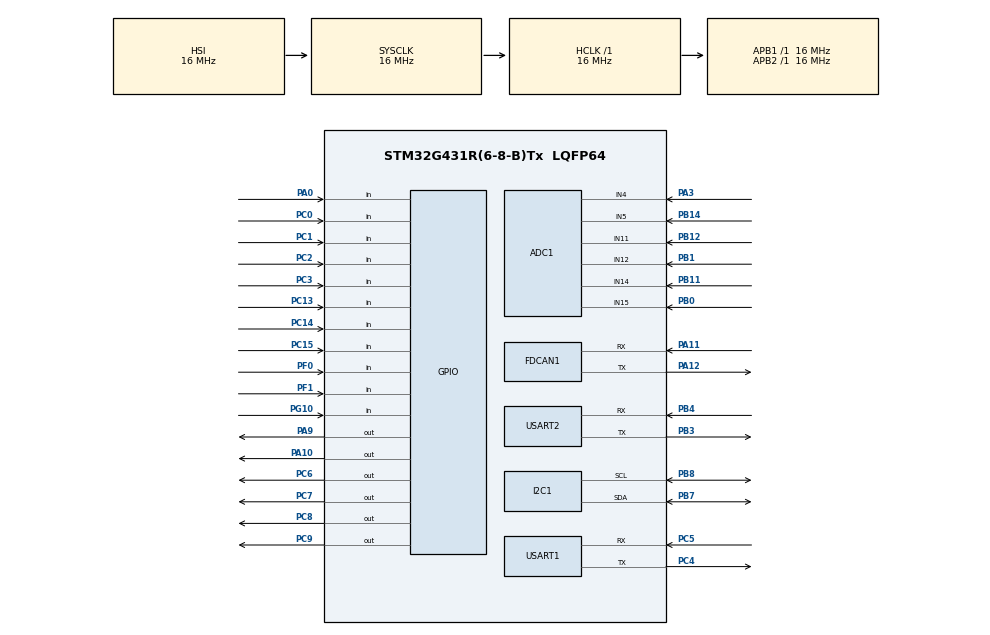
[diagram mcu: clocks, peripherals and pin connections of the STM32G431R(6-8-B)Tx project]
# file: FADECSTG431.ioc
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ADC1.Channel-0\#ChannelRegularConversion=ADC_CHANNEL_15
ADC1.NbrOfConversionFlag=1
ADC1.OffsetNumber-0\#ChannelRegularConversion=ADC_OFFSET_NONE
ADC1.Rank-0\#ChannelRegularConversion=1
ADC1.SamplingTime-0\#ChannelRegularConversion=ADC_SAMPLETIME_2CYCLES_5
ADC1.master=1
FDCAN1.CalculateBaudRateNominal=333333
FDCAN1.CalculateTimeBitNominal=3000
FDCAN1.CalculateTimeQuantumNominal=1000.0
I2C1.Timing=0x00503D58
Mcu.Family=STM32G4
Mcu.Name=STM32G431R(6-8-B)Tx
Mcu.Package=LQFP64
NVIC.PriorityGroup=NVIC_PRIORITYGROUP_4
PA0.Signal=GPIO_Input
PA10.Signal=GPIO_Output
PA11.Mode=FDCAN_Activate
PA11.Signal=FDCAN1_RX
PA12.Mode=FDCAN_Activate
PA12.Signal=FDCAN1_TX
PA13.Mode=Serial_Wire
PA13.Signal=SYS_JTMS-SWDIO
PA14.Mode=Serial_Wire
PA14.Signal=SYS_JTCK-SWCLK
PA3.Mode=IN4-Single-Ended
PA3.Signal=ADC1_IN4
PA9.Signal=GPIO_Output
PB0.Mode=IN15-Single-Ended
PB0.Signal=ADC1_IN15
PB1.Mode=IN12-Single-Ended
PB1.Signal=ADC1_IN12
PB11.Mode=IN14-Single-Ended
PB11.Signal=ADC1_IN14
PB12.Mode=IN11-Single-Ended
PB12.Signal=ADC1_IN11
PB14.Mode=IN5-Single-Ended
PB14.Signal=ADC1_IN5
PB3.Mode=Asynchronous
PB3.Signal=USART2_TX
PB4.Mode=Asynchronous
PB4.Signal=USART2_RX
PB7.Mode=I2C
PB7.Signal=I2C1_SDA
PB8-BOOT0.Mode=I2C
PB8-BOOT0.Signal=I2C1_SCL
PC0.Signal=GPIO_Input
PC1.Signal=GPIO_Input
PC13.Signal=GPIO_Input
PC14-OSC32_IN.Signal=GPIO_Input
PC15-OSC32_OUT.Signal=GPIO_Input
PC2.Signal=GPIO_Input
PC3.Signal=GPIO_Input
PC4.Mode=Asynchronous
PC4.Signal=USART1_TX
PC5.Mode=Asynchronous
PC5.Signal=USART1_RX
PC6.Signal=GPIO_Output
PC7.Signal=GPIO_Output
PC8.Signal=GPIO_Output
PC9.Signal=GPIO_Output
PF0-OSC_IN.Signal=GPIO_Input
PF1-OSC_OUT.Signal=GPIO_Input
PG10-NRST.Signal=GPIO_Input
ProjectManager.HeapSize=0x200
ProjectManager.StackSize=0x400
ProjectManager.TargetToolchain=STM32CubeIDE
RCC.AHBFreq_Value=16000000
RCC.APB1Freq_Value=16000000
RCC.APB1TimFreq_Value=16000000
RCC.APB2Freq_Value=16000000
RCC.APB2TimFreq_Value=16000000
RCC.CortexFreq_Value=16000000
RCC.EXTERNAL_CLOCK_VALUE=12288000
RCC.HCLKFreq_Value=16000000
RCC.HSE_VALUE=8000000
RCC.HSI48_VALUE=48000000
RCC.HSI_VALUE=16000000
RCC.LSE_VALUE=32768
RCC.SYSCLKFreq_VALUE=16000000
RCC.USBFreq_Value=64000000
RCC.VCOOutputFreq_Value=128000000
USART1.VirtualMode-Asynchronous=VM_ASYNC
USART2.VirtualMode-Asynchronous=VM_ASYNC
VP_CRC_VS_CRC.Mode=CRC_Activate
VP_RTC_VS_RTC_Activate.Mode=RTC_Enabled
VP_SYS_VS_DBSignals.Mode=DisableDeadBatterySignals
board=custom

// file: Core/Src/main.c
/* USER CODE BEGIN Header */
/**
  ******************************************************************************
  * @file           : main.c
  * @brief          : Main program body
  ******************************************************************************
  * @attention
  *
  * Copyright (c) 2025 STMicroelectronics.
  * All rights reserved.
  *
  * This software is licensed under terms that can be found in the LICENSE file
  * in the root directory of this software component.
  * If no LICENSE file comes with this software, it is provided AS-IS.
  *
  ******************************************************************************
  */
/* USER CODE END Header */
#include "main.h"

/* USER CODE BEGIN Includes */
#include "nslp.h"
#include "payloads.h"
/* USER CODE END Includes */

/* USER CODE BEGIN PD */
#define SP		GPIO_PIN_9
#define MUXE	GPIO_PIN_10
#define MUXP1	GPIO_PIN_7
#define MUXP2	GPIO_PIN_8
#define MUXP3	GPIO_PIN_9
#define MGO		GPIOC

const uint8_t NUM_OF_SENSORS = 4;
const int selectPins[3] = { MUXP1, MUXP2, MUXP3 };
const uint8_t RUNAVGAM = 5;

struct Packet sendPacket;
struct Pressure pressure;
struct Temperature temperature;
/* USER CODE END PD */

ADC_HandleTypeDef hadc1;

CRC_HandleTypeDef hcrc;

FDCAN_HandleTypeDef hfdcan1;

I2C_HandleTypeDef hi2c1;

RTC_HandleTypeDef hrtc;

UART_HandleTypeDef huart1;
UART_HandleTypeDef huart2;

void SystemClock_Config(void);
static void MX_GPIO_Init(void);
static void MX_FDCAN1_Init(void);
static void MX_I2C1_Init(void);
static void MX_USART1_UART_Init(void);
static void MX_USART2_UART_Init(void);
static void MX_RTC_Init(void);
static void MX_CRC_Init(void);
static void MX_ADC1_Init(void);
/* USER CODE BEGIN PFP */
float pressureArray[4];
float temperatureArray[4];
/* USER CODE END PFP */

/* USER CODE BEGIN 0 */
void selectMuxPin(uint8_t pin) {
	for (uint8_t j = 0; j < 3; j++) {
		if (pin & (1 << j)) {
			if (j == 2) {
				HAL_GPIO_WritePin(MGO, selectPins[j], GPIO_PIN_SET);
			} else {
				HAL_GPIO_WritePin(MGO, selectPins[j], GPIO_PIN_SET);
			}
		} else {
			if (j == 2) {
				HAL_GPIO_WritePin(MGO, selectPins[j], GPIO_PIN_RESET);
			} else {
				HAL_GPIO_WritePin(MGO, selectPins[j], GPIO_PIN_RESET);
			}
		}
	}

}
/* USER CODE END 0 */

int main(void)
{

  /* USER CODE BEGIN 1 */
	//Needed variables
		uint8_t instructionArray[8];
		uint8_t addressArray[8];
		uint8_t receiveArray[5];
		uint32_t rawPressureData;
		int32_t rawTemperatureData;
		float fpressureData;
		float fpressureData2;
		float truePressureData;
		float runningAveragePressure[NUM_OF_SENSORS][5];
		float ftemperatureData;
		float runningAverageTemperature[NUM_OF_SENSORS][5];
		float temperatureSum = 0;
		float temperatureAverage = 0;
		float trueTemparature;
		float Fullscale_P = 40000;
		float pressureSum = 0;
		float pressureAverage = 0;

		//Sensor calibration values
		float calibration[10] = { 1000 / 6 / 1.5 / 1.10, 300 / 1.40, 100, 120.0, 1, 1, 1, 1, 1, 1 };
		float tempcal[10] = { 2.15, 2, 2.15, 2, 1, 1, 1, 1, 1, 1 };

  /* USER CODE END 1 */

  /* MCU Configuration--------------------------------------------------------*/

  /* Reset of all peripherals, Initializes the Flash interface and the Systick. */
  HAL_Init();

  /* Configure the system clock */
  SystemClock_Config();

  /* Initialize all configured peripherals */
  MX_GPIO_Init();
  MX_FDCAN1_Init();
  MX_I2C1_Init();
  MX_USART1_UART_Init();
  MX_USART2_UART_Init();
  MX_RTC_Init();
  MX_CRC_Init();
  MX_ADC1_Init();
  /* USER CODE BEGIN 2 */
  HAL_GPIO_WritePin(GPIOA, MUXE, GPIO_PIN_RESET);
	for (uint8_t i = 0; i < 3; i++) {
		if (i == 2) {
			HAL_GPIO_WritePin(MGO, selectPins[i], GPIO_PIN_SET);
		} else {
			HAL_GPIO_WritePin(MGO, selectPins[i], GPIO_PIN_SET);
		}
	}

	//status avr struct init
	struct Command nStat = {
		0x00,
		0x00
	};
  /* USER CODE END 2 */

  /* Infinite loop */
  /* USER CODE BEGIN WHILE */
  while (1)
  {
	  for (uint8_t i = 0; i < NUM_OF_SENSORS; i++) {

		//select mux pin in regards to number if I2C sensors
		selectMuxPin(i);

		//Packet receive and interpret
		struct Packet p = *receive_packet(&huart1, &hcrc);
		struct Command c = *(struct Command*) p.payload;

		//Transmit command to avr in format: {type, cmd};
		HAL_UART_Transmit(&huart2, &c, 2, 100);

		//Set main valve
		if (c.state & (1 << 0)) {
			 HAL_GPIO_WritePin(GPIOA, SP, 1);
		}
		else {
			 HAL_GPIO_WritePin(GPIOA, SP, 0);
		}

		//Receive from Avr in format: {type, cmd};
		HAL_UART_Receive(&huart2, (uint8_t *) &nStat, 2, 100);

		//Set instructions for temperature and pressure sensors
		instructionArray[0] = 0x30;
		instructionArray[1] = 0x0A;
		addressArray[0] = 0x06;
		HAL_I2C_Master_Transmit(&hi2c1, 0x7f << 1, instructionArray, 2, 25);
		HAL_I2C_Master_Receive(&hi2c1, 0x7f << 1, addressArray, 1, 25);
		HAL_I2C_Master_Receive(&hi2c1, 0x7f << 1, receiveArray, 5, 25);

		//Pressure data interpretation
		rawPressureData = (receiveArray[0] << 16) | (receiveArray[1] << 8) | (receiveArray[2]);
		fpressureData = rawPressureData;
		if (fpressureData >= 8388608) {
			fpressureData2 = (fpressureData - 16777216.0) * Fullscale_P * calibration[i] / 8388608.0;
		} else {
			fpressureData2 = fpressureData / 8388608.0 * Fullscale_P * calibration[i]; //delis zaradi max vrednosti
		}
		truePressureData = fpressureData2;

		//Running average  for stable data
		for (uint8_t j = 0; j < RUNAVGAM; j++) {
			if (j == 0) {
				pressureSum = 0;
			}
			if (j == RUNAVGAM - 1) {
				runningAveragePressure[i][j] = truePressureData;
				pressureSum += runningAveragePressure[i][j];
				break;
			}
			runningAveragePressure[i][j] = runningAveragePressure[i][j + 1];
			pressureSum += runningAveragePressure[i][j];
		}
		pressureAverage = pressureSum / RUNAVGAM;

		//Temperature data interpretation
		rawTemperatureData = (receiveArray[3] << 8) | receiveArray[4];
		ftemperatureData = rawTemperatureData;
		trueTemparature = ftemperatureData / 256.0 * tempcal[i];

		//Running average  for stable data
		for (uint8_t j = 0; j < RUNAVGAM; j++) {
			if (j == 0) {
				temperatureSum = 0;
			}
			if (j == RUNAVGAM - 1) {
				runningAverageTemperature[i][j] = trueTemparature;
				temperatureSum += runningAverageTemperature[i][j];
				break;
			}
			runningAverageTemperature[i][j] = runningAverageTemperature[i][j + 1];
			temperatureSum += runningAverageTemperature[i][j];
		}
		temperatureAverage = temperatureSum / RUNAVGAM;
		pressureArray[i] = pressureAverage;
		temperatureArray[i] = temperatureAverage;
	}

	//pressures packet organization
	pressure.tank1 = pressureArray[0];
	pressure.tank2 = pressureArray[1];
	pressure.injector1 = pressureArray[2];
	pressure.injector2 = pressureArray[3];

	sendPacket.type = 'p';
	sendPacket.size = 16;
	sendPacket.payload = (uint8_t*) &pressure;
	send_packet(&sendPacket, &huart1, &hcrc);

	//temperatures packet organization
	temperature.tank1 = temperatureArray[0];
	temperature.tank1 = temperatureArray[1];
	temperature.injector1 = temperatureArray[2];
	temperature.injector2 = temperatureArray[3];

	sendPacket.type = 't';
	sendPacket.size = 16;
	sendPacket.payload = (uint8_t*) &temperature;
	send_packet(&sendPacket, &huart1, &hcrc);

	//avr status data organization
	sendPacket.type = 'c';
	sendPacket.size = 2;
	sendPacket.payload = (uint8_t*) &nStat;
	send_packet(&sendPacket, &huart1, &hcrc);
    /* USER CODE END WHILE */

  }
}

void SystemClock_Config(void)
{
  RCC_OscInitTypeDef RCC_OscInitStruct = {0};
  RCC_ClkInitTypeDef RCC_ClkInitStruct = {0};

  /** Configure the main internal regulator output voltage
  */
  HAL_PWREx_ControlVoltageScaling(PWR_REGULATOR_VOLTAGE_SCALE1);

  /** Initializes the RCC Oscillators according to the specified parameters
  * in the RCC_OscInitTypeDef structure.
  */
  RCC_OscInitStruct.OscillatorType = RCC_OSCILLATORTYPE_HSI|RCC_OSCILLATORTYPE_LSI;
  RCC_OscInitStruct.HSIState = RCC_HSI_ON;
  RCC_OscInitStruct.HSICalibrationValue = RCC_HSICALIBRATION_DEFAULT;
  RCC_OscInitStruct.LSIState = RCC_LSI_ON;
  RCC_OscInitStruct.PLL.PLLState = RCC_PLL_NONE;
  if (HAL_RCC_OscConfig(&RCC_OscInitStruct) != HAL_OK)
  {
    Error_Handler();
  }

  /** Initializes the CPU, AHB and APB buses clocks
  */
  RCC_ClkInitStruct.ClockType = RCC_CLOCKTYPE_HCLK|RCC_CLOCKTYPE_SYSCLK
                              |RCC_CLOCKTYPE_PCLK1|RCC_CLOCKTYPE_PCLK2;
  RCC_ClkInitStruct.SYSCLKSource = RCC_SYSCLKSOURCE_HSI;
  RCC_ClkInitStruct.AHBCLKDivider = RCC_SYSCLK_DIV1;
  RCC_ClkInitStruct.APB1CLKDivider = RCC_HCLK_DIV1;
  RCC_ClkInitStruct.APB2CLKDivider = RCC_HCLK_DIV1;

  if (HAL_RCC_ClockConfig(&RCC_ClkInitStruct, FLASH_LATENCY_0) != HAL_OK)
  {
    Error_Handler();
  }
}

static void MX_ADC1_Init(void)
{

  ADC_MultiModeTypeDef multimode = {0};
  ADC_ChannelConfTypeDef sConfig = {0};

  /** Common config
  */
  hadc1.Instance = ADC1;
  hadc1.Init.ClockPrescaler = ADC_CLOCK_SYNC_PCLK_DIV2;
  hadc1.Init.Resolution = ADC_RESOLUTION_12B;
  hadc1.Init.DataAlign = ADC_DATAALIGN_RIGHT;
  hadc1.Init.GainCompensation = 0;
  hadc1.Init.ScanConvMode = ADC_SCAN_DISABLE;
  hadc1.Init.EOCSelection = ADC_EOC_SINGLE_CONV;
  hadc1.Init.LowPowerAutoWait = DISABLE;
  hadc1.Init.ContinuousConvMode = DISABLE;
  hadc1.Init.NbrOfConversion = 1;
  hadc1.Init.DiscontinuousConvMode = DISABLE;
  hadc1.Init.ExternalTrigConv = ADC_SOFTWARE_START;
  hadc1.Init.ExternalTrigConvEdge = ADC_EXTERNALTRIGCONVEDGE_NONE;
  hadc1.Init.DMAContinuousRequests = DISABLE;
  hadc1.Init.Overrun = ADC_OVR_DATA_PRESERVED;
  hadc1.Init.OversamplingMode = DISABLE;
  if (HAL_ADC_Init(&hadc1) != HAL_OK)
  {
    Error_Handler();
  }

  /** Configure the ADC multi-mode
  */
  multimode.Mode = ADC_MODE_INDEPENDENT;
  if (HAL_ADCEx_MultiModeConfigChannel(&hadc1, &multimode) != HAL_OK)
  {
    Error_Handler();
  }

  /** Configure Regular Channel
  */
  sConfig.Channel = ADC_CHANNEL_15;
  sConfig.Rank = ADC_REGULAR_RANK_1;
  sConfig.SamplingTime = ADC_SAMPLETIME_2CYCLES_5;
  sConfig.SingleDiff = ADC_SINGLE_ENDED;
  sConfig.OffsetNumber = ADC_OFFSET_NONE;
  sConfig.Offset = 0;
  if (HAL_ADC_ConfigChannel(&hadc1, &sConfig) != HAL_OK)
  {
    Error_Handler();
  }

}

static void MX_CRC_Init(void)
{

  hcrc.Instance = CRC;
  hcrc.Init.DefaultPolynomialUse = DEFAULT_POLYNOMIAL_ENABLE;
  hcrc.Init.DefaultInitValueUse = DEFAULT_INIT_VALUE_ENABLE;
  hcrc.Init.InputDataInversionMode = CRC_INPUTDATA_INVERSION_NONE;
  hcrc.Init.OutputDataInversionMode = CRC_OUTPUTDATA_INVERSION_DISABLE;
  hcrc.InputDataFormat = CRC_INPUTDATA_FORMAT_BYTES;
  if (HAL_CRC_Init(&hcrc) != HAL_OK)
  {
    Error_Handler();
  }

}

static void MX_FDCAN1_Init(void)
{

  hfdcan1.Instance = FDCAN1;
  hfdcan1.Init.ClockDivider = FDCAN_CLOCK_DIV1;
  hfdcan1.Init.FrameFormat = FDCAN_FRAME_CLASSIC;
  hfdcan1.Init.Mode = FDCAN_MODE_NORMAL;
  hfdcan1.Init.AutoRetransmission = DISABLE;
  hfdcan1.Init.TransmitPause = DISABLE;
  hfdcan1.Init.ProtocolException = DISABLE;
  hfdcan1.Init.NominalPrescaler = 16;
  hfdcan1.Init.NominalSyncJumpWidth = 1;
  hfdcan1.Init.NominalTimeSeg1 = 1;
  hfdcan1.Init.NominalTimeSeg2 = 1;
  hfdcan1.Init.DataPrescaler = 1;
  hfdcan1.Init.DataSyncJumpWidth = 1;
  hfdcan1.Init.DataTimeSeg1 = 1;
  hfdcan1.Init.DataTimeSeg2 = 1;
  hfdcan1.Init.StdFiltersNbr = 0;
  hfdcan1.Init.ExtFiltersNbr = 0;
  hfdcan1.Init.TxFifoQueueMode = FDCAN_TX_FIFO_OPERATION;
  if (HAL_FDCAN_Init(&hfdcan1) != HAL_OK)
  {
    Error_Handler();
  }

}

static void MX_I2C1_Init(void)
{

  hi2c1.Instance = I2C1;
  hi2c1.Init.Timing = 0x00503D58;
  hi2c1.Init.OwnAddress1 = 0;
  hi2c1.Init.AddressingMode = I2C_ADDRESSINGMODE_7BIT;
  hi2c1.Init.DualAddressMode = I2C_DUALADDRESS_DISABLE;
  hi2c1.Init.OwnAddress2 = 0;
  hi2c1.Init.OwnAddress2Masks = I2C_OA2_NOMASK;
  hi2c1.Init.GeneralCallMode = I2C_GENERALCALL_DISABLE;
  hi2c1.Init.NoStretchMode = I2C_NOSTRETCH_DISABLE;
  if (HAL_I2C_Init(&hi2c1) != HAL_OK)
  {
    Error_Handler();
  }

  /** Configure Analogue filter
  */
  if (HAL_I2CEx_ConfigAnalogFilter(&hi2c1, I2C_ANALOGFILTER_ENABLE) != HAL_OK)
  {
    Error_Handler();
  }

  /** Configure Digital filter
  */
  if (HAL_I2CEx_ConfigDigitalFilter(&hi2c1, 0) != HAL_OK)
  {
    Error_Handler();
  }

}

static void MX_RTC_Init(void)
{

  /** Initialize RTC Only
  */
  hrtc.Instance = RTC;
  hrtc.Init.HourFormat = RTC_HOURFORMAT_24;
  hrtc.Init.AsynchPrediv = 127;
  hrtc.Init.SynchPrediv = 255;
  hrtc.Init.OutPut = RTC_OUTPUT_DISABLE;
  hrtc.Init.OutPutRemap = RTC_OUTPUT_REMAP_NONE;
  hrtc.Init.OutPutPolarity = RTC_OUTPUT_POLARITY_HIGH;
  hrtc.Init.OutPutType = RTC_OUTPUT_TYPE_OPENDRAIN;
  hrtc.Init.OutPutPullUp = RTC_OUTPUT_PULLUP_NONE;
  if (HAL_RTC_Init(&hrtc) != HAL_OK)
  {
    Error_Handler();
  }

}

static void MX_USART1_UART_Init(void)
{

  huart1.Instance = USART1;
  huart1.Init.BaudRate = 115200;
  huart1.Init.WordLength = UART_WORDLENGTH_8B;
  huart1.Init.StopBits = UART_STOPBITS_1;
  huart1.Init.Parity = UART_PARITY_NONE;
  huart1.Init.Mode = UART_MODE_TX_RX;
  huart1.Init.HwFlowCtl = UART_HWCONTROL_NONE;
  huart1.Init.OverSampling = UART_OVERSAMPLING_16;
  huart1.Init.OneBitSampling = UART_ONE_BIT_SAMPLE_DISABLE;
  huart1.Init.ClockPrescaler = UART_PRESCALER_DIV1;
  huart1.AdvancedInit.AdvFeatureInit = UART_ADVFEATURE_NO_INIT;
  if (HAL_UART_Init(&huart1) != HAL_OK)
  {
    Error_Handler();
  }
  if (HAL_UARTEx_SetTxFifoThreshold(&huart1, UART_TXFIFO_THRESHOLD_1_8) != HAL_OK)
  {
    Error_Handler();
  }
  if (HAL_UARTEx_SetRxFifoThreshold(&huart1, UART_RXFIFO_THRESHOLD_1_8) != HAL_OK)
  {
    Error_Handler();
  }
  if (HAL_UARTEx_DisableFifoMode(&huart1) != HAL_OK)
  {
    Error_Handler();
  }

}

static void MX_USART2_UART_Init(void)
{

  huart2.Instance = USART2;
  huart2.Init.BaudRate = 115200;
  huart2.Init.WordLength = UART_WORDLENGTH_8B;
  huart2.Init.StopBits = UART_STOPBITS_1;
  huart2.Init.Parity = UART_PARITY_NONE;
  huart2.Init.Mode = UART_MODE_TX_RX;
  huart2.Init.HwFlowCtl = UART_HWCONTROL_NONE;
  huart2.Init.OverSampling = UART_OVERSAMPLING_16;
  huart2.Init.OneBitSampling = UART_ONE_BIT_SAMPLE_DISABLE;
  huart2.Init.ClockPrescaler = UART_PRESCALER_DIV1;
  huart2.AdvancedInit.AdvFeatureInit = UART_ADVFEATURE_NO_INIT;
  if (HAL_UART_Init(&huart2) != HAL_OK)
  {
    Error_Handler();
  }
  if (HAL_UARTEx_SetTxFifoThreshold(&huart2, UART_TXFIFO_THRESHOLD_1_8) != HAL_OK)
  {
    Error_Handler();
  }
  if (HAL_UARTEx_SetRxFifoThreshold(&huart2, UART_RXFIFO_THRESHOLD_1_8) != HAL_OK)
  {
    Error_Handler();
  }
  if (HAL_UARTEx_DisableFifoMode(&huart2) != HAL_OK)
  {
    Error_Handler();
  }

}

static void MX_GPIO_Init(void)
{
  GPIO_InitTypeDef GPIO_InitStruct = {0};

  /* GPIO Ports Clock Enable */
  __HAL_RCC_GPIOC_CLK_ENABLE();
  __HAL_RCC_GPIOF_CLK_ENABLE();
  __HAL_RCC_GPIOG_CLK_ENABLE();
  __HAL_RCC_GPIOA_CLK_ENABLE();
  __HAL_RCC_GPIOB_CLK_ENABLE();

  /*Configure GPIO pin Output Level */
  HAL_GPIO_WritePin(GPIOC, GPIO_PIN_6|GPIO_PIN_7|GPIO_PIN_8|GPIO_PIN_9, GPIO_PIN_RESET);

  /*Configure GPIO pin Output Level */
  HAL_GPIO_WritePin(GPIOA, GPIO_PIN_9|GPIO_PIN_10, GPIO_PIN_RESET);

  /*Configure GPIO pins : PC13 PC14 PC15 PC0
                           PC1 PC2 PC3 */
  GPIO_InitStruct.Pin = GPIO_PIN_13|GPIO_PIN_14|GPIO_PIN_15|GPIO_PIN_0
                          |GPIO_PIN_1|GPIO_PIN_2|GPIO_PIN_3;
  GPIO_InitStruct.Mode = GPIO_MODE_INPUT;
  GPIO_InitStruct.Pull = GPIO_NOPULL;
  HAL_GPIO_Init(GPIOC, &GPIO_InitStruct);

  /*Configure GPIO pins : PF0 PF1 */
  GPIO_InitStruct.Pin = GPIO_PIN_0|GPIO_PIN_1;
  GPIO_InitStruct.Mode = GPIO_MODE_INPUT;
  GPIO_InitStruct.Pull = GPIO_NOPULL;
  HAL_GPIO_Init(GPIOF, &GPIO_InitStruct);

  /*Configure GPIO pin : PG10 */
  GPIO_InitStruct.Pin = GPIO_PIN_10;
  GPIO_InitStruct.Mode = GPIO_MODE_INPUT;
  GPIO_InitStruct.Pull = GPIO_NOPULL;
  HAL_GPIO_Init(GPIOG, &GPIO_InitStruct);

  /*Configure GPIO pin : PA0 */
  GPIO_InitStruct.Pin = GPIO_PIN_0;
  GPIO_InitStruct.Mode = GPIO_MODE_INPUT;
  GPIO_InitStruct.Pull = GPIO_NOPULL;
  HAL_GPIO_Init(GPIOA, &GPIO_InitStruct);

  /*Configure GPIO pins : PC6 PC7 PC8 PC9 */
  GPIO_InitStruct.Pin = GPIO_PIN_6|GPIO_PIN_7|GPIO_PIN_8|GPIO_PIN_9;
  GPIO_InitStruct.Mode = GPIO_MODE_OUTPUT_PP;
  GPIO_InitStruct.Pull = GPIO_NOPULL;
  GPIO_InitStruct.Speed = GPIO_SPEED_FREQ_LOW;
  HAL_GPIO_Init(GPIOC, &GPIO_InitStruct);

  /*Configure GPIO pins : PA9 PA10 */
  GPIO_InitStruct.Pin = GPIO_PIN_9|GPIO_PIN_10;
  GPIO_InitStruct.Mode = GPIO_MODE_OUTPUT_PP;
  GPIO_InitStruct.Pull = GPIO_NOPULL;
  GPIO_InitStruct.Speed = GPIO_SPEED_FREQ_LOW;
  HAL_GPIO_Init(GPIOA, &GPIO_InitStruct);

}

void Error_Handler(void)
{
  __disable_irq();
  while (1)
  {
  }
}
